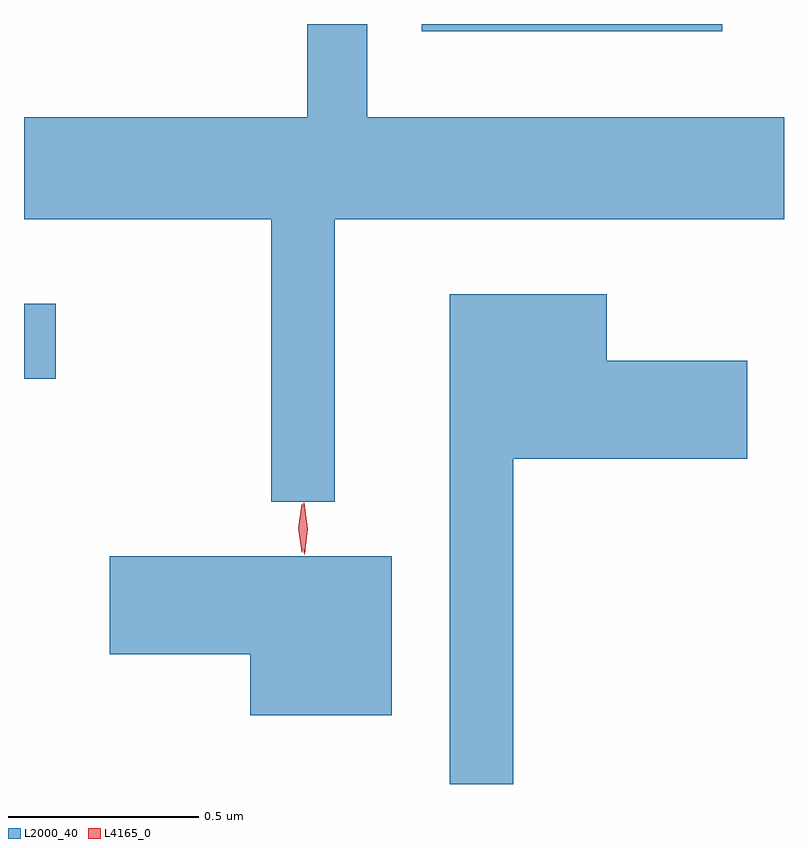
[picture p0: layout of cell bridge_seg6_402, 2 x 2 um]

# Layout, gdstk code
import gdstk
lib = gdstk.Library(unit=1e-6, precision=1e-09)
def R(c, l, rs):  # rectangles x0, y0, x1, y1
    for r in rs: c.add(gdstk.rectangle(r[:2], r[2:], *l))
def P(c, l, *ps):  # polygons
    for p in ps: c.add(gdstk.Polygon(p, *l))
L2000_40 = (2000, 40)
L4165_0 = (4165, 0)

bridge_seg6_402 = lib.new_cell('bridge_seg6_402')
R(bridge_seg6_402, L2000_40, [(945.081,1638.416,945.164,1638.614), (946.128,1639.331,946.919,1639.35)])
P(bridge_seg6_402, L2000_40, [(945.899,1638.836),(947.081,1638.836),(947.081,1639.104),(945.984,1639.104),(945.984,1639.35),(945.826,1639.35),(945.826,1639.104),(945.081,1639.104),(945.081,1638.836),(945.731,1638.836),(945.731,1638.093),(945.899,1638.093)],
  [(946.369,1638.206),(946.984,1638.206),(946.984,1638.464),(946.614,1638.464),(946.614,1638.639),(946.201,1638.639),(946.201,1637.35),(946.369,1637.35)],
  [(946.049,1637.949),(945.306,1637.949),(945.306,1637.691),(945.676,1637.691),(945.676,1637.531),(946.049,1637.531)])
P(bridge_seg6_402, L4165_0, [(945.818,1637.954),(945.808,1638.022),(945.817,1638.09),(945.818,1638.09),(945.818,1638.09),(945.828,1638.022),(945.82,1637.954),(945.819,1637.954)],
  [(945.812,1637.96),(945.803,1638.023),(945.812,1638.086),(945.813,1638.087),(945.813,1638.086),(945.823,1638.023),(945.813,1637.96),(945.813,1637.96)])

lib.write_gds('bridge_seg6_402.gds')
